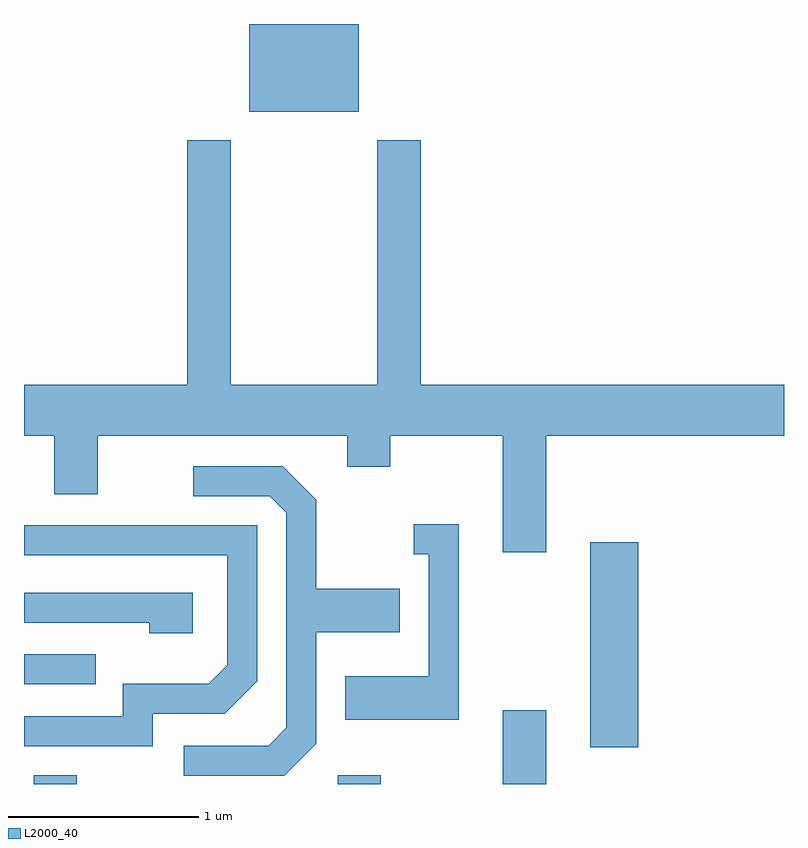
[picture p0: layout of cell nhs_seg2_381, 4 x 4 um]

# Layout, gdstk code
import gdstk
lib = gdstk.Library(unit=1e-6, precision=1e-09)
def R(c, l, rs):  # rectangles x0, y0, x1, y1
    for r in rs: c.add(gdstk.rectangle(r[:2], r[2:], *l))
def P(c, l, *ps):  # polygons
    for p in ps: c.add(gdstk.Polygon(p, *l))
L2000_40 = (2000, 40)

nhs_seg2_381 = lib.new_cell('nhs_seg2_381')
R(nhs_seg2_381, L2000_40, [(195.661,1059.802,195.889,1059.849), (197.261,1059.802,197.489,1059.849), (198.131,1059.802,198.359,1060.189), (198.591,1059.996,198.844,1061.074), (195.611,1060.326,195.988,1060.484), (196.796,1063.341,197.374,1063.802)])
P(nhs_seg2_381, L2000_40, [(198.359,1061.636),(199.611,1061.636),(199.611,1061.904),(197.699,1061.904),(197.699,1063.189),(197.471,1063.189),(197.471,1061.904),(196.699,1061.904),(196.699,1063.189),(196.471,1063.189),(196.471,1061.904),(195.611,1061.904),(195.611,1061.636),(195.771,1061.636),(195.771,1061.326),(195.999,1061.326),(195.999,1061.636),(197.311,1061.636),(197.311,1061.471),(197.539,1061.471),(197.539,1061.636),(198.131,1061.636),(198.131,1061.021),(198.359,1061.021)],
  [(197.149,1060.014),(197.149,1060.601),(197.589,1060.601),(197.589,1060.829),(197.149,1060.829),(197.149,1061.297),(196.972,1061.474),(196.503,1061.474),(196.503,1061.316),(196.904,1061.316),(196.991,1061.229),(196.991,1060.097),(196.899,1060.004),(196.453,1060.004),(196.453,1059.846),(196.982,1059.846)],
  [(197.899,1061.169),(197.663,1061.169),(197.663,1061.011),(197.741,1061.011),(197.741,1060.369),(197.301,1060.369),(197.301,1060.141),(197.899,1060.141)],
  [(196.289,1060.171),(196.667,1060.171),(196.839,1060.344),(196.839,1061.164),(195.611,1061.164),(195.611,1061.006),(196.681,1061.006),(196.681,1060.427),(196.584,1060.329),(196.131,1060.329),(196.131,1060.159),(195.611,1060.159),(195.611,1060.001),(196.289,1060.001)],
  [(196.499,1060.809),(195.611,1060.809),(195.611,1060.651),(196.271,1060.651),(196.271,1060.596),(196.499,1060.596)])

lib.write_gds('nhs_seg2_381.gds')
